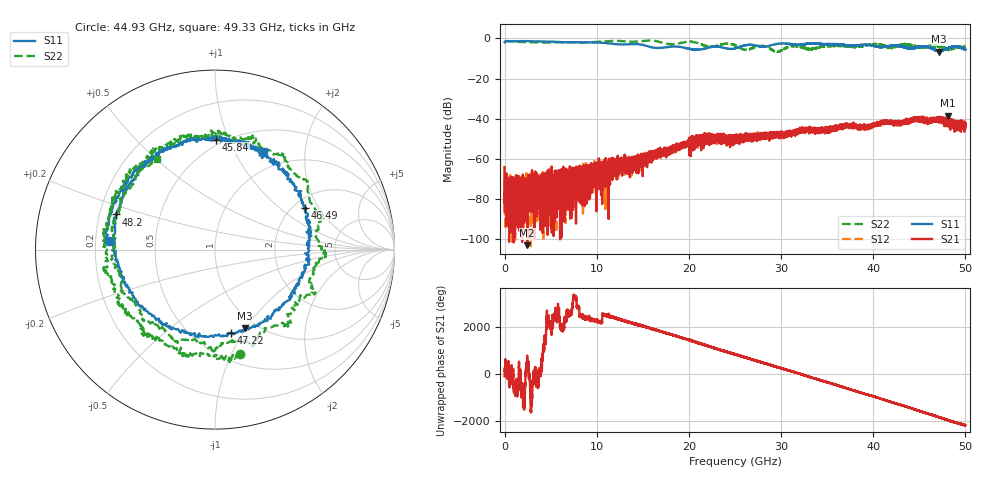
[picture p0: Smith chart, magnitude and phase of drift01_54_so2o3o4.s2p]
!Created with skrf (http://scikit-rf.org).
# Hz S RI R 50.0
!freq ReS11 ImS11 ReS21 ImS21 ReS12 ImS12 ReS22 ImS22
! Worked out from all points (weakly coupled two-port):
!   10001 points, 300 kHz to 50 GHz, reference 50 ohm
!   highest |S21| = -38.55 dB at 48.08 GHz (marker M1); lowest = -102.9 dB at 2.455 GHz (marker M2)
!   lowest |S11| = -6.6 dB at 47.15 GHz (marker M3), VSWR 2.77, Z = 43.9 - j49.5 ohm
!   |S11| at or under -10 dB: nowhere
!   |S22| runs from -6.8 to -1.0 dB; largest |S21 - S12| = 0.0041
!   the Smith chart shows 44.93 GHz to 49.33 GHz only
!   S11 on the Smith chart (normalised r, x): 44.93 GHz: 0.26, +0.04; 45.84 GHz: 0.46, +0.90; 46.49 GHz: 2.30, +1.56; 47.22 GHz: 0.75, -0.89; 48.2 GHz: 0.27, +0.16; 49.33 GHz: 0.75, +1.33
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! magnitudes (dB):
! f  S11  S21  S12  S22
! 300 kHz  -2.0  -64.1  -63.5  -1.3
! 260.3 MHz  -1.4  -70.7  -74.8  -1.4
! 2.455 GHz  -1.4  -102.9  -71.2  -1.9
! 5.1 GHz  -1.6  -71.8  -75.8  -2.1
! 8.335 GHz  -1.9  -70.0  -74.0  -2.1
! 16.67 GHz  -4.8  -56.9  -57.3  -1.6
! 21.82 GHz  -5.0  -50.2  -49.2  -3.8
! 25 GHz  -5.0  -48.5  -49.1  -3.4
! 28.09 GHz  -4.2  -48.3  -49.1  -3.8
! 29.52 GHz  -2.8  -48.4  -47.7  -6.7
! 31.27 GHz  -3.0  -46.7  -47.0  -4.0
! 33.34 GHz  -2.6  -44.9  -45.7  -5.5
! 41.67 GHz  -3.8  -41.3  -41.5  -4.4
! 44.93 GHz  -4.5  -41.1  -40.9  -4.4
! 45.84 GHz  -4.3  -41.1  -40.9  -4.2
! 46.49 GHz  -5.1  -40.4  -40.2  -3.7
! 47.15 GHz  -6.6  -40.4  -40.2  -4.0
! 47.22 GHz  -6.5  -39.6  -40.7  -4.4
! 48.08 GHz  -4.9  -38.6  -41.3  -5.2
! 48.2 GHz  -4.7  -41.9  -42.2  -5.9
! 49.33 GHz  -4.2  -43.5  -41.7  -4.4
! 50 GHz  -5.6  -43.6  -44.0  -4.2
